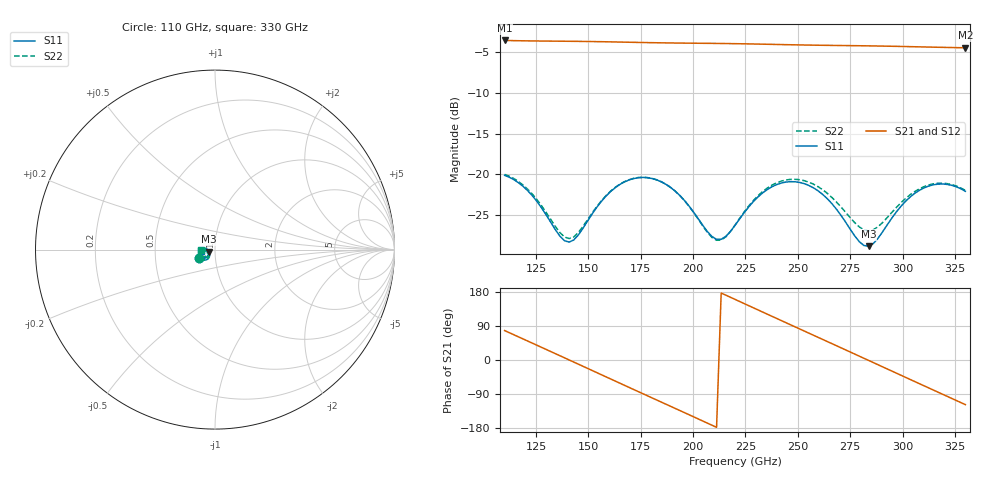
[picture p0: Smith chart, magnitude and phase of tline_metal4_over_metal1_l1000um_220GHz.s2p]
#  GHZ S DB R 50
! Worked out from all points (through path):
!   101 points, 110 GHz to 330 GHz, reference 50 ohm
!   highest |S21| = -3.55 dB at 110 GHz (marker M1); lowest = -4.5 dB at 330 GHz (marker M2)
!   group delay of S21, straight-line fit = 7.02 ps
!   lowest |S11| = -28.9 dB at 283.8 GHz (marker M3), VSWR 1.07, Z = 46.7 - j1.15 ohm
!   |S11| at or under -10 dB: start of sweep to end of sweep
!   |S22| runs from -28.1 to -20.0 dB; largest |S21 - S12| = 7.3e-14
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110  -20.14 -151.8  -3.55 77.7  -3.55 77.7  -20.03 -151.1
118.8  -21.49 -165.9  -3.59 55.6  -3.59 55.6  -21.34 -165.0
129.8  -24.99 -173.9  -3.63 27.9  -3.63 27.9  -24.69 -172.9
138.6  -28.18 -157.4  -3.65 5.7  -3.65 5.7  -27.72 -157.8
147.4  -26.66 -130.4  -3.67 -16.5  -3.67 -16.5  -26.43 -132.1
156.2  -23.34 -127.9  -3.70 -38.9  -3.70 -38.9  -23.27 -129.1
167.2  -20.95 -141.0  -3.76 -66.7  -3.76 -66.7  -20.92 -141.6
176  -20.40 -154.9  -3.80 -88.9  -3.80 -88.9  -20.38 -155.2
184.8  -20.94 -168.7  -3.84 -111.1  -3.84 -111.1  -20.92 -168.7
202.4  -25.46 178.3  -3.89 -155.4  -3.89 -155.4  -25.52 178.7
211.2  -28.01 -163.5  -3.92 -177.7  -3.92 -177.7  -28.13 -162.0
220  -26.30 -140.5  -3.95 160.0  -3.95 160.0  -26.27 -138.2
231  -22.79 -140.7  -4.00 132.1  -4.00 132.1  -22.64 -138.2
239.8  -21.29 -151.2  -4.04 109.9  -4.04 109.9  -21.07 -148.5
248.6  -20.93 -164.3  -4.09 87.7  -4.09 87.7  -20.63 -161.0
257.4  -21.67 -176.9  -4.13 65.5  -4.13 65.5  -21.22 -173.0
270.6  -25.06 172.3  -4.17 32.3  -4.17 32.3  -24.03 177.2
283.8  -28.86 -160.1  -4.22 -1.1  -4.22 -1.1  -26.97 -163.6
294.8  -25.43 -137.8  -4.26 -29.0  -4.26 -29.0  -24.73 -145.4
312.4  -21.47 -152.6  -4.36 -73.5  -4.36 -73.5  -21.33 -156.9
321.2  -21.25 -164.8  -4.41 -95.6  -4.41 -95.6  -21.16 -168.1
330  -22.10 -175.7  -4.45 -117.8  -4.45 -117.8  -22.00 -178.2
